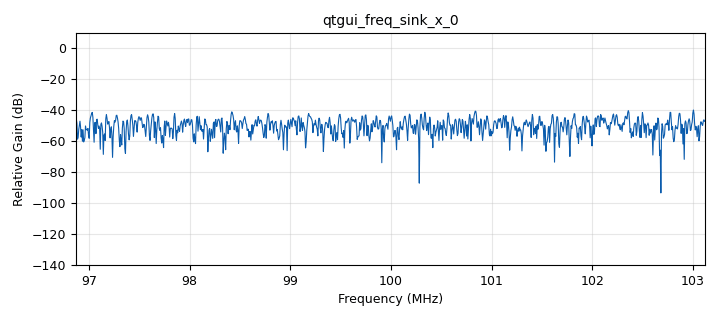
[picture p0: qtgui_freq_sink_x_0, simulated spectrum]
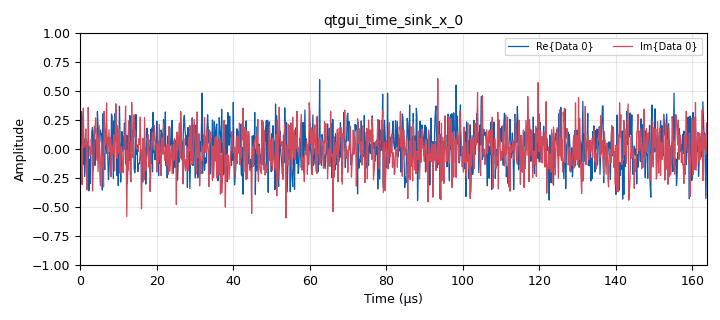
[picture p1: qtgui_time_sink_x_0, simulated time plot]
options:
  parameters:
    author: Sebastian_Magda
    generate_options: qt_gui
    id: Practica1_labComu2_G10
    output_language: python
    title: Manejo_GNU
  states: {}

blocks:
- name: GTX
  id: variable_qtgui_range
  parameters:
    label: Ganancia TX
    start: '0'
    step: '1'
    stop: '30'
    value: '0'
  states: {}
- name: 'NO'
  id: variable_qtgui_range
  parameters:
    label: Amplitud de ruido
    start: '1e-6'
    step: '1e-6'
    stop: '500e-3'
    value: '250e-3'
  states: {}
- name: fc
  id: variable_qtgui_range
  parameters:
    label: FRecuencia de portadora
    start: 50e6
    step: 1e6
    stop: 2200e6
    value: 100e6
  states: {}
- name: samp_rate
  id: variable
  parameters:
    value: 12500000/2
  states: {}
- name: analog_noise_source_x_0
  id: analog_noise_source_x
  parameters:
    amp: 'NO'
    noise_type: analog.GR_GAUSSIAN
    seed: '0'
    type: complex
  states: {}
- name: blocks_throttle_0
  id: blocks_throttle
  parameters:
    samples_per_second: samp_rate
    type: complex
  states: {}
- name: qtgui_freq_sink_x_0
  id: qtgui_freq_sink_x
  parameters:
    bw: samp_rate
    fc: 100e6
    fftsize: '1024'
    type: complex
  states: {}
- name: qtgui_time_sink_x_0
  id: qtgui_time_sink_x
  parameters:
    size: '1024'
    srate: samp_rate
    type: complex
  states: {}
- name: uhd_usrp_sink_0
  id: uhd_usrp_sink
  parameters:
    ant0: '"TX/RX"'
    center_freq0: fc
    gain0: GTX
    samp_rate: samp_rate
    sync: pc_clock
    type: fc32
  states: {}

connections:
- [analog_noise_source_x_0, '0', blocks_throttle_0, '0']
- [blocks_throttle_0, '0', qtgui_freq_sink_x_0, '0']
- [blocks_throttle_0, '0', qtgui_time_sink_x_0, '0']
- [blocks_throttle_0, '0', uhd_usrp_sink_0, '0']

metadata:
  file_format: 1
  grc_version: 3.10.2.0
